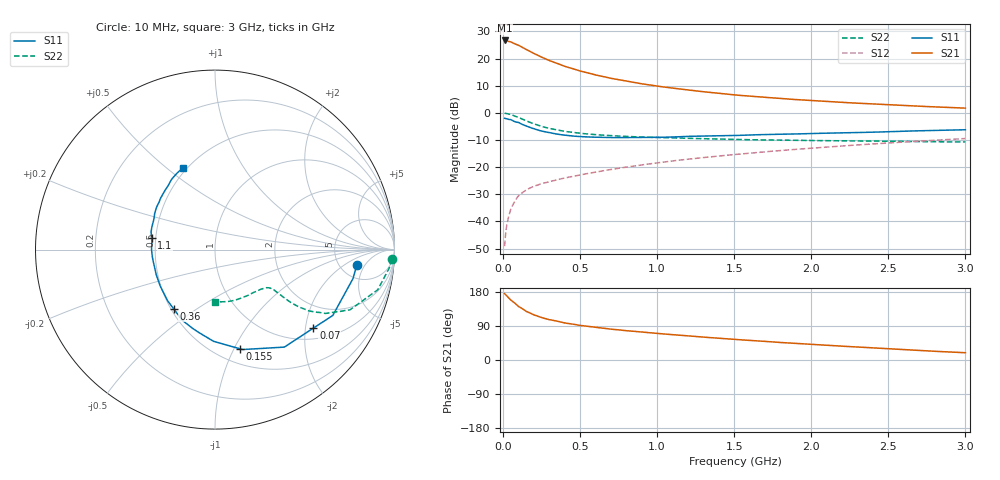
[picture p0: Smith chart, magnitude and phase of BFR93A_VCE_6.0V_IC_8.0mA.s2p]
! Infineon Technologies  Discrete & RF Semiconductors
! BFR93A
! VCE =  6.0 V,  IC =  8.0 mA
! Common Emitter S-Parameters:  Nov 2015
# GHz  S  MA  R  50
!  f  S11  S21  S12  S22
! GHz  MAG  ANG  MAG  ANG  MAG  ANG  MAG  ANG
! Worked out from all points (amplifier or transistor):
!   180 points, 10 MHz to 3 GHz, reference 50 ohm
!   highest |S21| = 26.7 dB at 10 MHz (marker M1)
!   |S21| within 3 dB of that: start of sweep to 139.7 MHz
!   unconditionally stable (mu >= 1): 648 MHz to 2.531 GHz
!   at 160 MHz: K = 0.44, MSG = 25.6 dB, |S12| = -28.1 dB
!   at 1.22 GHz: K = 1.09, MAG = 10.8 dB, |S12| = -16.9 dB
!   at 3 GHz: K = 0.95, MSG = 5.6 dB, |S12| = -9.5 dB
!   S11 on the Smith chart (normalised r, x): 10 MHz: 7.26, -3.28; 70 MHz: 1.28, -2.21; 155 MHz: 0.65, -1.05; 360 MHz: 0.52, -0.41; 1.1 GHz: 0.47, +0.07; 3 GHz: 0.48, +0.57
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0.01  0.7951 -6.0  21.59 175.1  0.0035 86.5  0.9849 -3.0
0.02  0.7855 -11.9  21.4 170.8  0.0072 83.6  0.9771 -5.9
0.05  0.7519 -29.2  20.33 158.3  0.0167 76.0  0.9335 -13.9
0.07  0.7014 -38.6  19.05 152.1  0.0218 70.5  0.8859 -17.7
0.1  0.6666 -54.6  17.62 141.4  0.0297 65.8  0.8228 -24.1
0.15  0.5774 -74.6  14.76 128.3  0.0381 59.5  0.7114 -30.0
0.155  0.5689 -76.0  14.52 127.5  0.0387 59.2  0.7028 -30.3
0.2  0.5111 -90.9  12.45 119.0  0.0444 56.8  0.6266 -33.1
0.24  0.4699 -101.3  10.97 113.4  0.0485 55.8  0.5756 -34.1
0.26  0.4554 -106.2  10.33 110.8  0.0504 55.6  0.5537 -34.5
0.3  0.4337 -114.9  9.213 106.4  0.0539 55.4  0.5171 -34.9
0.36  0.4019 -125.1  7.984 101.7  0.0594 56.2  0.4802 -34.8
0.4  0.3887 -132.7  7.203 97.7  0.0631 56.6  0.4556 -34.8
0.52  0.3633 -148.7  5.726 90.4  0.0736 58.1  0.4153 -34.5
0.7  0.3507 -165.7  4.335 81.4  0.0906 60.1  0.3802 -34.7
0.8  0.3515 -173.2  3.832 77.3  0.1002 61.0  0.3682 -35.3
1.02  0.354 173.1  3.056 69.5  0.1219 61.6  0.3501 -37.8
1.1  0.3592 169.2  2.854 66.8  0.13 61.7  0.3448 -39.1
1.52  0.3841 151.9  2.12 53.9  0.1728 60.6  0.3235 -46.9
2.02  0.4177 136.3  1.675 40.9  0.2258 57.7  0.3091 -59.0
2.52  0.4521 123.6  1.402 29.4  0.2811 53.5  0.2998 -73.2
3  0.4888 111.7  1.223 19.2  0.3367 48.8  0.2917 -89.9
